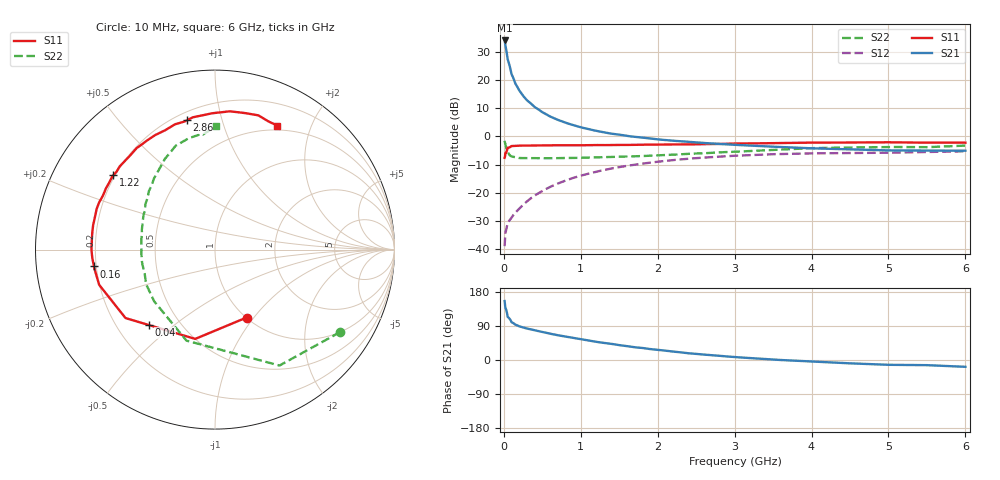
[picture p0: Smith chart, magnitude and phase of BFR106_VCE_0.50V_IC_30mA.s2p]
! Infineon Technologies  Discrete & RF Semiconductors
! BFR106
! VCE = 0.50 V,  IC =  30 mA
! Common Emitter S-Parameters:  Nov 2015
# GHz  S  MA  R  50
!  f  S11  S21  S12  S22
! GHz  MAG  ANG  MAG  ANG  MAG  ANG  MAG  ANG
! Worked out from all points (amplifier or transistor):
!   210 points, 10 MHz to 6 GHz, reference 50 ohm
!   highest |S21| = 34.0 dB at 10 MHz (marker M1)
!   |S21| within 3 dB of that: start of sweep to 29.01 MHz
!   unconditionally stable (mu >= 1): 229.9 MHz to end of sweep
!   at 185 MHz: K = 0.93, MSG = 21.5 dB, |S12| = -26.0 dB
!   at 1.52 GHz: K = 1.10, MAG = 3.7 dB, |S12| = -10.8 dB
!   at 6 GHz: K = 1.03, MAG = -1.0 dB, |S12| = -5.3 dB
!   S11 on the Smith chart (normalised r, x): 10 MHz: 1.00, -0.92; 40 MHz: 0.34, -0.41; 160 MHz: 0.19, -0.07; 1.22 GHz: 0.19, +0.32; 2.86 GHz: 0.25, +0.78; 6 GHz: 0.44, +1.53
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0.01  0.4173 -65.1  49.84 155.5  0.0114 71.3  0.835 -33.4
0.02  0.5097 -102.5  41.22 138.3  0.0192 58.4  0.7392 -60.9
0.04  0.5593 -131.3  28.54 125.3  0.0257 48.1  0.5536 -88.6
0.05  0.6278 -142.6  23.2 113.8  0.0291 44.7  0.5315 -107.4
0.1  0.6746 -163.1  12.67 99.8  0.0367 46.6  0.4448 -139.7
0.15  0.6805 -171.2  8.585 93.2  0.0445 51.5  0.4293 -153.5
0.16  0.681 -172.1  8.169 92.5  0.0461 52.5  0.4257 -155.0
0.2  0.685 -175.9  6.519 88.9  0.0525 55.9  0.414 -161.1
0.26  0.6882 179.6  5.034 85.1  0.0632 58.7  0.4126 -167.7
0.3  0.688 177.4  4.362 83.0  0.0706 60.6  0.4125 -170.4
0.4  0.69 172.5  3.315 78.2  0.0894 62.9  0.4108 -175.9
0.5  0.6926 168.6  2.682 73.9  0.1078 63.5  0.4097 180.0
0.6  0.6932 164.6  2.254 69.5  0.1272 63.4  0.4095 177.0
0.8  0.6968 157.7  1.743 61.8  0.1647 61.3  0.4147 171.5
1.02  0.6967 150.1  1.426 54.1  0.2051 58.3  0.4185 166.6
1.22  0.7023 143.8  1.239 47.4  0.2398 54.9  0.4255 162.1
2.02  0.7161 122.1  0.88 26.4  0.3584 40.1  0.4647 146.2
2.86  0.7372 102.3  0.728 10.1  0.4426 25.3  0.5254 129.8
3.1  0.7486 97.8  0.698 6.4  0.4593 21.3  0.5424 125.4
4.1  0.7751 82.5  0.609 -5.0  0.5016 6.9  0.6217 109.2
5.1  0.7831 71.2  0.564 -12.9  0.517 -3.7  0.6483 96.5
6  0.7734 63.3  0.558 -18.0  0.5445 -11.8  0.6865 89.6
